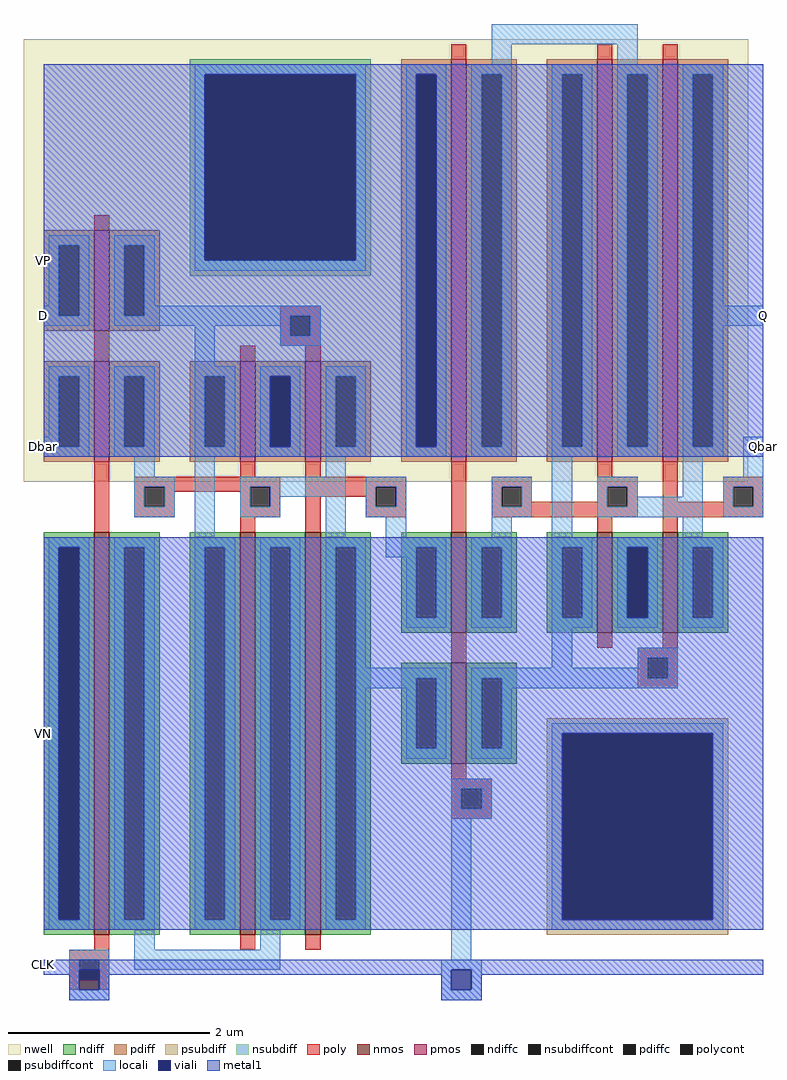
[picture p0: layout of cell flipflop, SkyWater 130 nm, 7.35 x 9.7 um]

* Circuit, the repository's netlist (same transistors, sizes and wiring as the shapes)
* NGSPICE file created from flipflop.ext - technology: sky130A

*.subckt flipflop D Dbar Q Qbar CLK VP VN
X0 Q Qbar a_740_930# VP sky130_fd_pr__pfet_01v8 ad=2 pd=9 as=1 ps=4.5 w=4 l=0.15
X1 VP a_30_930# a_30_1190# VP sky130_fd_pr__pfet_01v8 ad=0.25 pd=1.5 as=0.5 ps=3 w=1 l=0.15
X2 a_740_930# Q Qbar VP sky130_fd_pr__pfet_01v8 ad=1 pd=4.5 as=2 ps=9 w=4 l=0.15
X3 Q CLK a_30_1190# VN sky130_fd_pr__nfet_01v8 ad=0.5 pd=3 as=0.5 ps=3 w=1 l=0.15
X4 a_30_930# a_30_1190# VP VP sky130_fd_pr__pfet_01v8 ad=0.5 pd=3 as=0.25 ps=1.5 w=1 l=0.15
X5 a_30_n10# CLK VN VN sky130_fd_pr__nfet_01v8 ad=2 pd=9 as=2 ps=9 w=4 l=0.15
X6 a_30_1190# CLK D VP sky130_fd_pr__pfet_01v8 ad=0.5 pd=3 as=0.5 ps=3 w=1 l=0.15
X7 Q Qbar VN VN sky130_fd_pr__nfet_01v8 ad=0.5 pd=3 as=0.25 ps=1.5 w=1 l=0.15
X8 a_30_930# CLK Dbar VP sky130_fd_pr__pfet_01v8 ad=0.5 pd=3 as=0.5 ps=3 w=1 l=0.15
X9 a_740_930# CLK VP VP sky130_fd_pr__pfet_01v8 ad=2 pd=9 as=2 ps=9 w=4 l=0.15
X10 a_30_n10# a_30_930# a_30_1190# VN sky130_fd_pr__nfet_01v8 ad=1 pd=4.5 as=2 ps=9 w=4 l=0.15
X11 VN Q Qbar VN sky130_fd_pr__nfet_01v8 ad=0.25 pd=1.5 as=0.5 ps=3 w=1 l=0.15
X12 Qbar CLK a_30_930# VN sky130_fd_pr__nfet_01v8 ad=0.5 pd=3 as=0.5 ps=3 w=1 l=0.15
X13 a_30_930# a_30_1190# a_30_n10# VN sky130_fd_pr__nfet_01v8 ad=2 pd=9 as=1 ps=4.5 w=4 l=0.15
*.ends

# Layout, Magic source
magic
tech sky130A
<< nwell >>
rect -70 445 650 885
<< nmos >>
rect 0 -5 15 395
rect 145 -5 160 395
rect 210 -5 225 395
rect 355 295 370 395
rect 500 295 515 395
rect 565 295 580 395
rect 355 165 370 265
<< pmos >>
rect 0 595 15 695
rect 0 465 15 565
rect 145 465 160 565
rect 210 465 225 565
rect 355 465 370 865
rect 500 465 515 865
rect 565 465 580 865
<< ndiff >>
rect -50 380 0 395
rect -50 10 -35 380
rect -15 10 0 380
rect -50 -5 0 10
rect 15 380 65 395
rect 15 10 30 380
rect 50 10 65 380
rect 15 -5 65 10
rect 95 380 145 395
rect 95 10 110 380
rect 130 10 145 380
rect 95 -5 145 10
rect 160 380 210 395
rect 160 10 175 380
rect 195 10 210 380
rect 160 -5 210 10
rect 225 380 275 395
rect 225 10 240 380
rect 260 10 275 380
rect 305 380 355 395
rect 305 310 320 380
rect 340 310 355 380
rect 305 295 355 310
rect 370 380 420 395
rect 370 310 385 380
rect 405 310 420 380
rect 370 295 420 310
rect 450 380 500 395
rect 450 310 465 380
rect 485 310 500 380
rect 450 295 500 310
rect 515 380 565 395
rect 515 310 530 380
rect 550 310 565 380
rect 515 295 565 310
rect 580 380 630 395
rect 580 310 595 380
rect 615 310 630 380
rect 580 295 630 310
rect 305 250 355 265
rect 305 180 320 250
rect 340 180 355 250
rect 305 165 355 180
rect 370 250 420 265
rect 370 180 385 250
rect 405 180 420 250
rect 370 165 420 180
rect 225 -5 275 10
<< pdiff >>
rect -50 680 0 695
rect -50 610 -35 680
rect -15 610 0 680
rect -50 595 0 610
rect 15 680 65 695
rect 15 610 30 680
rect 50 610 65 680
rect 305 850 355 865
rect 15 595 65 610
rect -50 550 0 565
rect -50 480 -35 550
rect -15 480 0 550
rect -50 465 0 480
rect 15 550 65 565
rect 15 480 30 550
rect 50 480 65 550
rect 15 465 65 480
rect 95 550 145 565
rect 95 480 110 550
rect 130 480 145 550
rect 95 465 145 480
rect 160 550 210 565
rect 160 480 175 550
rect 195 480 210 550
rect 160 465 210 480
rect 225 550 275 565
rect 225 480 240 550
rect 260 480 275 550
rect 225 465 275 480
rect 305 480 320 850
rect 340 480 355 850
rect 305 465 355 480
rect 370 850 420 865
rect 370 480 385 850
rect 405 480 420 850
rect 370 465 420 480
rect 450 850 500 865
rect 450 480 465 850
rect 485 480 500 850
rect 450 465 500 480
rect 515 850 565 865
rect 515 480 530 850
rect 550 480 565 850
rect 515 465 565 480
rect 580 850 630 865
rect 580 480 595 850
rect 615 480 630 850
rect 580 465 630 480
<< ndiffc >>
rect -35 10 -15 380
rect 30 10 50 380
rect 110 10 130 380
rect 175 10 195 380
rect 240 10 260 380
rect 320 310 340 380
rect 385 310 405 380
rect 465 310 485 380
rect 530 310 550 380
rect 595 310 615 380
rect 320 180 340 250
rect 385 180 405 250
<< pdiffc >>
rect -35 610 -15 680
rect 30 610 50 680
rect -35 480 -15 550
rect 30 480 50 550
rect 110 480 130 550
rect 175 480 195 550
rect 240 480 260 550
rect 320 480 340 850
rect 385 480 405 850
rect 465 480 485 850
rect 530 480 550 850
rect 595 480 615 850
<< psubdiff >>
rect 450 195 630 210
rect 450 10 465 195
rect 615 10 630 195
rect 450 -5 630 10
<< nsubdiff >>
rect 95 850 275 865
rect 95 665 110 850
rect 260 665 275 850
rect 95 650 275 665
<< psubdiffcont >>
rect 465 10 615 195
<< nsubdiffcont >>
rect 110 665 260 850
<< poly >>
rect 355 865 370 880
rect 500 865 515 880
rect 565 865 580 880
rect 0 695 15 710
rect 185 610 225 620
rect 0 565 15 595
rect 185 590 195 610
rect 215 590 225 610
rect 185 580 225 590
rect 145 565 160 580
rect 210 565 225 580
rect 0 395 15 465
rect 145 450 160 465
rect 210 450 225 465
rect 40 440 185 450
rect 40 420 50 440
rect 70 435 155 440
rect 70 420 80 435
rect 40 410 80 420
rect 145 420 155 435
rect 175 420 185 440
rect 145 410 185 420
rect 210 440 310 450
rect 210 430 280 440
rect 145 395 160 410
rect 210 395 225 430
rect 270 420 280 430
rect 300 420 310 440
rect 270 410 310 420
rect 355 395 370 465
rect 500 450 515 465
rect 395 440 435 450
rect 395 420 405 440
rect 425 425 435 440
rect 500 440 540 450
rect 500 425 510 440
rect 425 420 510 425
rect 530 420 540 440
rect 395 410 540 420
rect 565 425 580 465
rect 625 440 665 450
rect 625 425 635 440
rect 565 420 635 425
rect 655 420 665 440
rect 565 410 665 420
rect 500 395 515 410
rect 565 395 580 410
rect 355 265 370 295
rect 500 280 515 295
rect 565 280 580 295
rect 540 270 580 280
rect 540 250 550 270
rect 570 250 580 270
rect 540 240 580 250
rect 355 150 370 165
rect 355 140 395 150
rect 355 120 365 140
rect 385 120 395 140
rect 355 110 395 120
rect 0 -20 15 -5
rect 145 -20 160 -5
rect 210 -20 225 -5
rect -25 -30 15 -20
rect -25 -50 -15 -30
rect 5 -50 15 -30
rect -25 -60 15 -50
<< polycont >>
rect 195 590 215 610
rect 50 420 70 440
rect 155 420 175 440
rect 280 420 300 440
rect 405 420 425 440
rect 510 420 530 440
rect 635 420 655 440
rect 550 250 570 270
rect 365 120 385 140
rect -15 -50 5 -30
<< locali >>
rect 395 880 540 900
rect 395 860 415 880
rect 520 860 540 880
rect 100 850 270 860
rect -45 680 -5 690
rect -45 620 -35 680
rect -50 610 -35 620
rect -15 610 -5 680
rect -50 600 -5 610
rect 20 680 60 690
rect 20 610 30 680
rect 50 620 60 680
rect 100 665 110 850
rect 260 665 270 850
rect 100 655 270 665
rect 310 850 350 860
rect 50 610 225 620
rect 20 600 195 610
rect 100 560 120 600
rect 185 590 195 600
rect 215 590 225 610
rect 185 580 225 590
rect -45 550 -5 560
rect -45 490 -35 550
rect -50 480 -35 490
rect -15 480 -5 550
rect -50 470 -5 480
rect 20 550 60 560
rect 20 480 30 550
rect 50 480 60 550
rect 20 470 60 480
rect 40 450 60 470
rect 100 550 140 560
rect 100 480 110 550
rect 130 480 140 550
rect 100 470 140 480
rect 165 550 205 560
rect 165 480 175 550
rect 195 480 205 550
rect 165 470 205 480
rect 230 550 270 560
rect 230 480 240 550
rect 260 480 270 550
rect 230 470 270 480
rect 310 480 320 850
rect 340 480 350 850
rect 310 470 350 480
rect 375 850 415 860
rect 375 480 385 850
rect 405 480 415 850
rect 375 470 415 480
rect 455 850 495 860
rect 455 480 465 850
rect 485 480 495 850
rect 455 470 495 480
rect 520 850 560 860
rect 520 480 530 850
rect 550 480 560 850
rect 520 470 560 480
rect 585 850 625 860
rect 585 480 595 850
rect 615 620 625 850
rect 615 600 665 620
rect 615 480 625 600
rect 585 470 625 480
rect 40 440 80 450
rect 40 420 50 440
rect 70 420 80 440
rect 40 410 80 420
rect 100 390 120 470
rect 230 450 250 470
rect 145 440 250 450
rect 145 420 155 440
rect 175 430 250 440
rect 175 420 185 430
rect 145 410 185 420
rect 230 390 250 430
rect 270 440 310 450
rect 270 420 280 440
rect 300 420 310 440
rect 270 410 310 420
rect 290 390 310 410
rect 395 440 435 450
rect 395 420 405 440
rect 425 420 435 440
rect 395 410 435 420
rect 395 390 415 410
rect -45 380 -5 390
rect -45 10 -35 380
rect -15 10 -5 380
rect -45 0 -5 10
rect 20 380 60 390
rect 20 10 30 380
rect 50 10 60 380
rect 20 0 60 10
rect 100 380 140 390
rect 100 10 110 380
rect 130 10 140 380
rect 100 0 140 10
rect 165 380 205 390
rect 165 10 175 380
rect 195 10 205 380
rect 165 0 205 10
rect 230 380 270 390
rect 230 10 240 380
rect 260 260 270 380
rect 290 380 350 390
rect 290 370 320 380
rect 310 310 320 370
rect 340 310 350 380
rect 310 300 350 310
rect 375 380 415 390
rect 375 310 385 380
rect 405 310 415 380
rect 375 300 415 310
rect 455 390 475 470
rect 500 440 540 450
rect 500 420 510 440
rect 530 430 540 440
rect 585 430 605 470
rect 645 450 665 490
rect 530 420 605 430
rect 500 410 605 420
rect 625 440 665 450
rect 625 420 635 440
rect 655 420 665 440
rect 625 410 665 420
rect 585 390 605 410
rect 455 380 495 390
rect 455 310 465 380
rect 485 310 495 380
rect 455 300 495 310
rect 520 380 560 390
rect 520 310 530 380
rect 550 310 560 380
rect 520 300 560 310
rect 585 380 625 390
rect 585 310 595 380
rect 615 310 625 380
rect 585 300 625 310
rect 455 260 475 300
rect 540 270 580 280
rect 540 260 550 270
rect 260 250 350 260
rect 260 240 320 250
rect 260 10 270 240
rect 310 180 320 240
rect 340 180 350 250
rect 310 170 350 180
rect 375 250 550 260
rect 570 250 580 270
rect 375 180 385 250
rect 405 240 580 250
rect 405 180 415 240
rect 375 170 415 180
rect 455 195 625 205
rect 230 0 270 10
rect 355 140 395 150
rect 355 120 365 140
rect 385 120 395 140
rect 355 110 395 120
rect 40 -20 60 0
rect 165 -20 185 0
rect -25 -30 15 -20
rect -25 -60 -15 -30
rect 5 -60 15 -30
rect 40 -40 185 -20
rect 355 -30 375 110
rect 455 10 465 195
rect 615 10 625 195
rect 455 0 625 10
rect 345 -40 385 -30
rect -25 -70 15 -60
rect 345 -60 355 -40
rect 375 -60 385 -40
rect 345 -70 385 -60
<< viali >>
rect 110 665 260 850
rect 175 480 195 550
rect 320 480 340 850
rect -35 10 -15 380
rect 530 310 550 380
rect -15 -50 5 -40
rect -15 -60 5 -50
rect 465 10 615 195
rect 355 -60 375 -40
<< metal1 >>
rect -50 850 665 860
rect -50 665 110 850
rect 260 665 320 850
rect -50 550 320 665
rect -50 480 175 550
rect 195 480 320 550
rect 340 480 665 850
rect -50 470 665 480
rect -50 380 665 390
rect -50 10 -35 380
rect -15 310 530 380
rect 550 310 665 380
rect -15 195 665 310
rect -15 10 465 195
rect 615 10 665 195
rect -50 0 665 10
rect -50 -40 665 -30
rect -50 -45 -15 -40
rect -25 -60 -15 -45
rect 5 -45 355 -40
rect 5 -60 15 -45
rect -25 -70 15 -60
rect 345 -60 355 -45
rect 375 -45 665 -40
rect 375 -60 385 -45
rect 345 -70 385 -60
<< labels >>
rlabel locali -50 610 -50 610 7 D
port 1 w
rlabel locali -50 480 -50 480 7 Dbar
port 2 w
rlabel locali 665 610 665 610 3 Q
port 3 e
rlabel locali 665 480 665 480 3 Qbar
port 4 e
rlabel metal1 -50 -35 -50 -35 7 CLK
port 5 w
rlabel metal1 -50 665 -50 665 7 VP
port 6 w
rlabel metal1 -50 195 -50 195 7 VN
port 7 w
<< end >>
